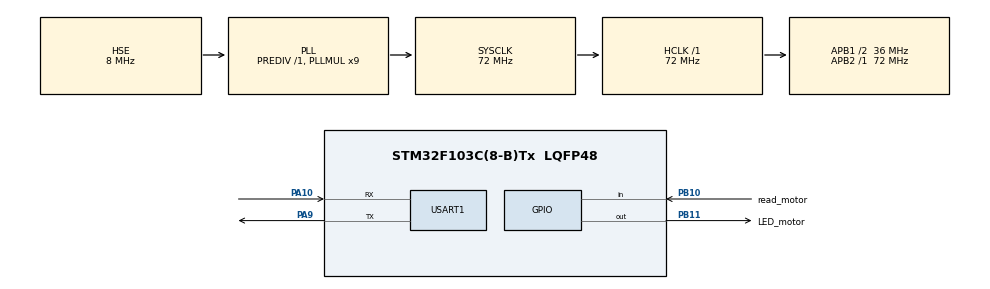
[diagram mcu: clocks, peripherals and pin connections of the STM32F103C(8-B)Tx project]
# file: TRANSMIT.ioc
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Mcu.Family=STM32F1
Mcu.Name=STM32F103C(8-B)Tx
Mcu.Package=LQFP48
NVIC.PriorityGroup=NVIC_PRIORITYGROUP_4
NVIC.USART1_IRQn=true\:0\:0\:false\:false\:true\:true
PA10.Mode=Asynchronous
PA10.Signal=USART1_RX
PA13.Mode=Serial_Wire
PA13.Signal=SYS_JTMS-SWDIO
PA14.Mode=Serial_Wire
PA14.Signal=SYS_JTCK-SWCLK
PA9.Mode=Asynchronous
PA9.Signal=USART1_TX
PB10.GPIO_Label=read_motor
PB10.Signal=GPIO_Input
PB11.GPIO_Label=LED_motor
PB11.Signal=GPIO_Output
PD0-OSC_IN.Mode=HSE-External-Oscillator
PD0-OSC_IN.Signal=RCC_OSC_IN
PD1-OSC_OUT.Mode=HSE-External-Oscillator
PD1-OSC_OUT.Signal=RCC_OSC_OUT
ProjectManager.HeapSize=0x200
ProjectManager.StackSize=0x400
ProjectManager.TargetToolchain=MDK-ARM V5
RCC.AHBFreq_Value=72000000
RCC.APB1CLKDivider=RCC_HCLK_DIV2
RCC.APB1Freq_Value=36000000
RCC.APB1TimFreq_Value=72000000
RCC.APB2Freq_Value=72000000
RCC.APB2TimFreq_Value=72000000
RCC.HCLKFreq_Value=72000000
RCC.PLLMUL=RCC_PLL_MUL9
RCC.PLLSourceVirtual=RCC_PLLSOURCE_HSE
RCC.SYSCLKFreq_VALUE=72000000
RCC.SYSCLKSource=RCC_SYSCLKSOURCE_PLLCLK
RCC.USBFreq_Value=72000000
USART1.VirtualMode=VM_ASYNC
board=custom

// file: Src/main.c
/**
  ******************************************************************************
  * @file           : main.c
  * @brief          : Main program body
  ******************************************************************************
  ** This notice applies to any and all portions of this file
  * that are not between comment pairs USER CODE BEGIN and
  * USER CODE END. Other portions of this file, whether
  * inserted by the user or by software development tools
  * are owned by their respective copyright owners.
  *
  * COPYRIGHT(c) 2019 STMicroelectronics
  *
  * Redistribution and use in source and binary forms, with or without modification,
  * are permitted provided that the following conditions are met:
  *   1. Redistributions of source code must retain the above copyright notice,
  *      this list of conditions and the following disclaimer.
  *   2. Redistributions in binary form must reproduce the above copyright notice,
  *      this list of conditions and the following disclaimer in the documentation
  *      and/or other materials provided with the distribution.
  *   3. Neither the name of STMicroelectronics nor the names of its contributors
  *      may be used to endorse or promote products derived from this software
  *      without specific prior written permission.
  *
  * THIS SOFTWARE IS PROVIDED BY THE COPYRIGHT HOLDERS AND CONTRIBUTORS "AS IS"
  * AND ANY EXPRESS OR IMPLIED WARRANTIES, INCLUDING, BUT NOT LIMITED TO, THE
  * IMPLIED WARRANTIES OF MERCHANTABILITY AND FITNESS FOR A PARTICULAR PURPOSE ARE
  * DISCLAIMED. IN NO EVENT SHALL THE COPYRIGHT HOLDER OR CONTRIBUTORS BE LIABLE
  * FOR ANY DIRECT, INDIRECT, INCIDENTAL, SPECIAL, EXEMPLARY, OR CONSEQUENTIAL
  * DAMAGES (INCLUDING, BUT NOT LIMITED TO, PROCUREMENT OF SUBSTITUTE GOODS OR
  * SERVICES; LOSS OF USE, DATA, OR PROFITS; OR BUSINESS INTERRUPTION) HOWEVER
  * CAUSED AND ON ANY THEORY OF LIABILITY, WHETHER IN CONTRACT, STRICT LIABILITY,
  * OR TORT (INCLUDING NEGLIGENCE OR OTHERWISE) ARISING IN ANY WAY OUT OF THE USE
  * OF THIS SOFTWARE, EVEN IF ADVISED OF THE POSSIBILITY OF SUCH DAMAGE.
  *
  ******************************************************************************
  */
#include "main.h"
#include "stm32f1xx_hal.h"

/* USER CODE BEGIN Includes */
#include "CTR_nrf24l01.h"
#include "stdio.h"
#include "string.h"
/* USER CODE END Includes */

UART_HandleTypeDef huart1;

/* USER CODE BEGIN PV */
/* Private variables ---------------------------------------------------------*/
void NRF24L01_Config()
{
	CTR_nrfPinConfig();
}
//----------------------khai bao bien cho ham truyen nhan NRF24L01 A-----------------------//
uint8_t chuoi[32];
uint8_t chuoi_nhan[32]="chuoi_nhan\r\n";

uint8_t dang_truyen[32]="dang truyen\r\n";
uint8_t dang_nhan[32]="dang nhan\r\n";
uint8_t loi[32]="khong thanh cong\r\n";
uint8_t chuoi_loi[32]="chuoi loi\r\n";
uint8_t ket_thuc[32]="KET THUC\r\n";

char ok[32]="ok\r\n";

uint8_t check_lai_lan_cuoi[32]="check lai lan cuoi\r\n";
uint8_t test[32]="start\r\n";
char T[32]=" C   ";
char H[32]=" %\r\n";
char xuong_hang[32]="\r\n";
char chuoi_truyen[32];

int a=0;
int b=0;
int thoi_gian_check=0;
int thoi_gian_truyen=0;
//----------------------khai bao bien cho ham truyen nhan NRF24L01 A-----------------------//
/* USER CODE END PV */

void SystemClock_Config(void);
static void MX_GPIO_Init(void);
static void MX_USART1_UART_Init(void);

/* USER CODE BEGIN PFP */
/* Private function prototypes -----------------------------------------------*/

/* USER CODE END PFP */

/* USER CODE BEGIN 0 */
char bat_san[32]="        Bat san\r\n";
char tat_san[32]="        Tat san\r\n";
char bat[32]="        Bat\r\n";
char bat_khong_duoc[32]="        Bat khong duoc\r\n";
char tat[32]="        Tat\r\n";
char tat_khong_duoc[32]="        Tat khong duoc\r\n";
void read()
{
	if(strcmp(chuoi, "ON_1b") == 0 )
	{

		if(HAL_GPIO_ReadPin(GPIOB, GPIO_PIN_11)==1)
		{
			HAL_UART_Transmit(&huart1,bat_san,32,5);
			snprintf(chuoi_truyen, sizeof(chuoi_truyen), "ON_1b");
			//snprintf(chuoi_truyen, sizeof(chuoi_truyen), "ON_2b");
			//khong can bat nua
		}
		else if(HAL_GPIO_ReadPin(GPIOB, GPIO_PIN_11)==0)
		{
			HAL_UART_Transmit(&huart1,bat,32,5);
			HAL_GPIO_WritePin(LED_motor_GPIO_Port, LED_motor_Pin, GPIO_PIN_SET);
			if(HAL_GPIO_ReadPin(GPIOB, GPIO_PIN_11)==0)
			{
				HAL_UART_Transmit(&huart1,bat_khong_duoc,32,5);
				snprintf(chuoi_truyen, sizeof(chuoi_truyen), "Khong bat duoc bom_1b");
				//snprintf(chuoi_truyen, sizeof(chuoi_truyen), "Khong bat duoc bom_2b");
			}
			else
			{
				snprintf(chuoi_truyen, sizeof(chuoi_truyen), "ON_1b");
				//snprintf(chuoi_truyen, sizeof(chuoi_truyen), "ON_2b");
			}
		}
		snprintf(chuoi_truyen, sizeof(chuoi_truyen), "ON_1b");
		//snprintf(chuoi_truyen, sizeof(chuoi_truyen), "ON_2b");
	}
	else if(strcmp(chuoi, "OFF_1b") == 0)
	{

		if(HAL_GPIO_ReadPin(GPIOB, GPIO_PIN_11)==0)
		{
			//khong can tat nua
			HAL_UART_Transmit(&huart1,tat_san,32,5);
			snprintf(chuoi_truyen, sizeof(chuoi_truyen), "OFF_1b");
			//snprintf(chuoi_truyen, sizeof(chuoi_truyen), "OFF_2b");
		}
		else if(HAL_GPIO_ReadPin(GPIOB, GPIO_PIN_11)==1)
		{
			HAL_UART_Transmit(&huart1,tat,32,5);
			HAL_GPIO_WritePin(LED_motor_GPIO_Port, LED_motor_Pin, GPIO_PIN_RESET);
			if(HAL_GPIO_ReadPin(GPIOB, GPIO_PIN_11)==1)
			{
				HAL_UART_Transmit(&huart1,tat_khong_duoc,32,5);
				snprintf(chuoi_truyen, sizeof(chuoi_truyen), "Khong tat duoc bom_1b");
				//snprintf(chuoi_truyen, sizeof(chuoi_truyen), "Khong tat duoc bom_2b");
			}
			else
			{
				snprintf(chuoi_truyen, sizeof(chuoi_truyen), "OFF_1b");
				//snprintf(chuoi_truyen, sizeof(chuoi_truyen), "OFF_2b");
			}
		}

	}
}

/* USER CODE END 0 */

int main(void)
{

  /* MCU Configuration----------------------------------------------------------*/

  /* Reset of all peripherals, Initializes the Flash interface and the Systick. */
  HAL_Init();

  /* Configure the system clock */
  SystemClock_Config();

  /* Initialize all configured peripherals */
  MX_GPIO_Init();
  MX_USART1_UART_Init();
  /* USER CODE BEGIN 2 */
	NRF24L01_Config();
	CTR_nrfInit(); // khoi tao
	CTR_nrfSetRX();
	// them doan ma can gui vao buffer gui

  /* USER CODE END 2 */

  /* Infinite loop */
	while (1)
	{

  /* USER CODE BEGIN 3 */
		//thoi_gian_truyen=0;
		a=0;
		b=0;
		thoi_gian_check=0;
		//thoi_gian_truyen=0;
		if(CTR_nrfGetPacket(chuoi)==1)
		{
			HAL_UART_Transmit(&huart1,chuoi_nhan,32,5);
			if(strcmp(chuoi, "ON_1b") == 0 || strcmp(chuoi, "OFF_1b") == 0)
			{
				HAL_UART_Transmit(&huart1,chuoi,32,5);//xem chuoi nhan duoc tren pc
				read();
				memset(chuoi,0x00,32);//xoa chuoi
				while(a==0)//doi den khi da nhan duoc chuoi ok
				{
					//truyen du lieu qua cho master
					//HAL_UART_Transmit(&huart1,xuong_hang,32,5);
					HAL_UART_Transmit(&huart1,dang_truyen,32,5);
					HAL_UART_Transmit(&huart1,chuoi_truyen,32,5);
					CTR_nrfSetTX();
					CTR_nrfSendPacket(chuoi_truyen);
					//cho phan hoi ok tu master
					//HAL_Delay(500);

					while(b==0)
					{
						thoi_gian_check+=1;
						HAL_UART_Transmit(&huart1,xuong_hang,32,5);
						HAL_UART_Transmit(&huart1,check_lai_lan_cuoi,32,5);
						memset(chuoi,0x00,32);//xoa chuoi
						CTR_nrfSetRX();
						if(CTR_nrfGetPacket(chuoi)==1)
						{
							int chuoi_ok = strcmp(chuoi, ok);
							if(chuoi_ok == 0)
							{
								HAL_UART_Transmit(&huart1,chuoi,32,5);
								thoi_gian_check=4;
								a=1;//thoat ca vong
								b=1;//thoat che do check lai lan cuoi
								HAL_UART_Transmit(&huart1,ket_thuc,32,5);
							}
							else
							{
								//HAL_UART_Transmit(&huart1,chuoi,32,5);
								HAL_UART_Transmit(&huart1,chuoi_loi,32,5);
								//thoi_gian_check=6;
							}
							memset(chuoi,0x00,32);//xoa chuoi
						}
						//neu khong nhan duoc chuoi ok thi tat motor
						if(thoi_gian_check>5)
						{
							a=1;//thoat ca vong
							b=1;
							HAL_UART_Transmit(&huart1,loi,32,5);
							if(HAL_GPIO_ReadPin(GPIOB, GPIO_PIN_11)==0)
							{
								//neu tat roi thi thoi
							}
							else if(HAL_GPIO_ReadPin(GPIOB, GPIO_PIN_11)==1)
							{
								HAL_GPIO_WritePin(GPIOB, GPIO_PIN_10, GPIO_PIN_RESET);
								//tat neu motor chua tat sau khi ket thuc qua trinh ntruyen nhan loi
							}
						}
					}
				}
			}
			memset(chuoi,0x00,32);//xoa chuoi
		}
		CTR_nrfSetRX();
	}
  /* USER CODE END 3 */

}

void SystemClock_Config(void)
{

  RCC_OscInitTypeDef RCC_OscInitStruct;
  RCC_ClkInitTypeDef RCC_ClkInitStruct;

    /**Initializes the CPU, AHB and APB busses clocks
    */
  RCC_OscInitStruct.OscillatorType = RCC_OSCILLATORTYPE_HSE;
  RCC_OscInitStruct.HSEState = RCC_HSE_ON;
  RCC_OscInitStruct.HSEPredivValue = RCC_HSE_PREDIV_DIV1;
  RCC_OscInitStruct.HSIState = RCC_HSI_ON;
  RCC_OscInitStruct.PLL.PLLState = RCC_PLL_ON;
  RCC_OscInitStruct.PLL.PLLSource = RCC_PLLSOURCE_HSE;
  RCC_OscInitStruct.PLL.PLLMUL = RCC_PLL_MUL9;
  if (HAL_RCC_OscConfig(&RCC_OscInitStruct) != HAL_OK)
  {
    _Error_Handler(__FILE__, __LINE__);
  }

    /**Initializes the CPU, AHB and APB busses clocks
    */
  RCC_ClkInitStruct.ClockType = RCC_CLOCKTYPE_HCLK|RCC_CLOCKTYPE_SYSCLK
                              |RCC_CLOCKTYPE_PCLK1|RCC_CLOCKTYPE_PCLK2;
  RCC_ClkInitStruct.SYSCLKSource = RCC_SYSCLKSOURCE_PLLCLK;
  RCC_ClkInitStruct.AHBCLKDivider = RCC_SYSCLK_DIV1;
  RCC_ClkInitStruct.APB1CLKDivider = RCC_HCLK_DIV2;
  RCC_ClkInitStruct.APB2CLKDivider = RCC_HCLK_DIV1;

  if (HAL_RCC_ClockConfig(&RCC_ClkInitStruct, FLASH_LATENCY_2) != HAL_OK)
  {
    _Error_Handler(__FILE__, __LINE__);
  }

    /**Configure the Systick interrupt time
    */
  HAL_SYSTICK_Config(HAL_RCC_GetHCLKFreq()/1000);

    /**Configure the Systick
    */
  HAL_SYSTICK_CLKSourceConfig(SYSTICK_CLKSOURCE_HCLK);

  /* SysTick_IRQn interrupt configuration */
  HAL_NVIC_SetPriority(SysTick_IRQn, 0, 0);
}

/* USART1 init function */
static void MX_USART1_UART_Init(void)
{

  huart1.Instance = USART1;
  huart1.Init.BaudRate = 115200;
  huart1.Init.WordLength = UART_WORDLENGTH_8B;
  huart1.Init.StopBits = UART_STOPBITS_1;
  huart1.Init.Parity = UART_PARITY_NONE;
  huart1.Init.Mode = UART_MODE_TX_RX;
  huart1.Init.HwFlowCtl = UART_HWCONTROL_NONE;
  huart1.Init.OverSampling = UART_OVERSAMPLING_16;
  if (HAL_UART_Init(&huart1) != HAL_OK)
  {
    _Error_Handler(__FILE__, __LINE__);
  }

}

/** Configure pins as
        * Analog
        * Input
        * Output
        * EVENT_OUT
        * EXTI
*/
static void MX_GPIO_Init(void)
{

  GPIO_InitTypeDef GPIO_InitStruct;

  /* GPIO Ports Clock Enable */
  __HAL_RCC_GPIOD_CLK_ENABLE();
  __HAL_RCC_GPIOB_CLK_ENABLE();
  __HAL_RCC_GPIOA_CLK_ENABLE();

  /*Configure GPIO pin Output Level */
  //HAL_GPIO_WritePin(LED_motor_GPIO_Port, LED_motor_Pin, GPIO_PIN_RESET);

  /*Configure GPIO pin : read_motor_Pin */
  GPIO_InitStruct.Pin = read_motor_Pin;
  GPIO_InitStruct.Mode = GPIO_MODE_INPUT;
  GPIO_InitStruct.Pull = GPIO_NOPULL;
  HAL_GPIO_Init(read_motor_GPIO_Port, &GPIO_InitStruct);

  /*Configure GPIO pin : LED_motor_Pin */
  GPIO_InitStruct.Pin = LED_motor_Pin;
  GPIO_InitStruct.Mode = GPIO_MODE_OUTPUT_PP;
  GPIO_InitStruct.Pull = GPIO_NOPULL;
  GPIO_InitStruct.Speed = GPIO_SPEED_FREQ_LOW;
  HAL_GPIO_Init(LED_motor_GPIO_Port, &GPIO_InitStruct);

}

void _Error_Handler(char *file, int line)
{
	while(1)
	{
	}
}

/************************ (C) COPYRIGHT STMicroelectronics *****END OF FILE****/
